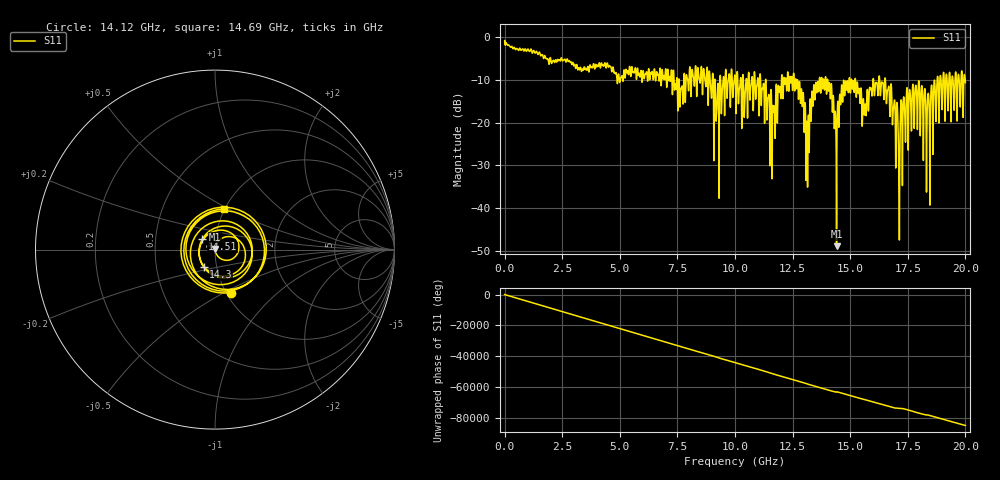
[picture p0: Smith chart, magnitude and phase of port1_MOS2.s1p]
! MS46122B
! 2250307/22442219
! 6/18/2025 1:22:23 PM
! C:\USERS\SPARKY\DOCUMENTS\VNA_DATA\JUNE18_2025\295K\PORT1_MOS2.S1P
! CHANNEL.1
! TR.MEASUREMENT
! RAW.DATA
# GHZ S RI R 50.0
! FREQ.GHZ  S11RE  S11IM
!; PortSelection: Port_1
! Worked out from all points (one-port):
!   10001 points, 1 MHz to 20 GHz, reference 50 ohm
!   lowest |S11| = -49.0 dB at 14.41 GHz (marker M1), VSWR 1.01, Z = 50.1 + j0.334 ohm
!   |S11| at or under -10 dB: 12.72 GHz to 13.66 GHz (944.7 MHz wide, 7.16 % of centre); 14.02 GHz to 14.95 GHz (927.7 MHz wide, 6.4 % of centre); 16.53 GHz to 18.77 GHz (2.244 GHz wide, 12.7 % of centre) (the widest 3 of 73)
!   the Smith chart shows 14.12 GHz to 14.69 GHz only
!   S11 on the Smith chart (normalised r, x): 14.12 GHz: 1.05, -0.54; 14.3 GHz: 0.87, -0.17; 14.51 GHz: 0.86, +0.10; 14.69 GHz: 0.99, +0.48
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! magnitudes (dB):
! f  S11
! 1 MHz  -1.0
! 2.501 GHz  -5.4
! 5.001 GHz  -10.6
! 7.501 GHz  -12.2
! 8.715 GHz  -10.6
! 9.239 GHz  -13.4
! 10 GHz  -8.8
! 11.16 GHz  -13.3
! 11.67 GHz  -17.5
! 12.5 GHz  -12.5
! 12.88 GHz  -12.1
! 13.15 GHz  -34.9
! 13.5 GHz  -10.7
! 14.12 GHz  -11.9
! 14.3 GHz  -18.7
! 14.41 GHz  -49.0
! 14.51 GHz  -20.8
! 14.69 GHz  -12.6
! 15 GHz  -12.4
! 15.6 GHz  -17.6
! 16.59 GHz  -13.9
! 16.98 GHz  -29.4
! 17.07 GHz  -18.8
! 17.5 GHz  -16.9
! 18.04 GHz  -22.9
! 18.38 GHz  -13.2
! 18.85 GHz  -20.1
! 20 GHz  -10.6
